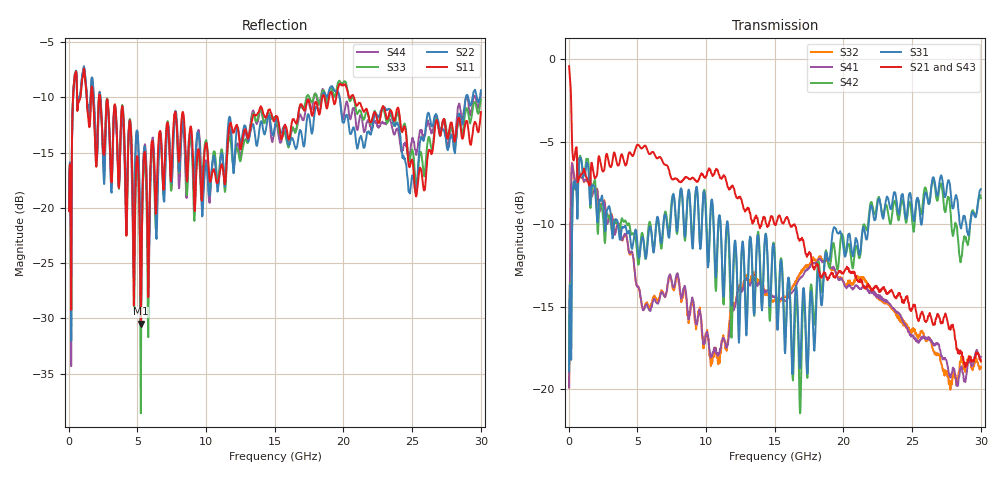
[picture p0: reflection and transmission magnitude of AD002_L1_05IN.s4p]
! MS46524B
! 1918203/M1: 91020113/M2: 91020112
! 9/9/2020 2:29:01 PM
! C:\USERS\ANRITSUUSER\DESKTOP\2118-5-2.S4P
! CHANNEL.1
! TR.MEASUREMENT
! CORRECTED.DATA
# GHZ S RI R 50.0
! FREQ.GHZ  S11RE  S11IM  S12RE  S12IM  S13RE  S13IM  S14RE  S14IM
!  S21RE  S21IM  S22RE  S22IM  S23RE  S23IM  S24RE  S24IM
!  S31RE  S31IM  S32RE  S32IM  S33RE  S33IM  S34RE  S34IM
!  S41RE  S41IM  S42RE  S42IM  S43RE  S43IM  S44RE  S44IM
!; PortSelection: Port_1234
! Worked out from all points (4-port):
!   1000 points, 30 MHz to 30 GHz, reference 50 ohm
!   strongest paths, dB at 30 MHz, 7.53 GHz, 15.03 GHz, 22.53 GHz, 30 GHz:
!     S21: -0.4, -7.3, -10.0, -13.9, -18.3
!     S43: -0.4, -7.3, -10.0, -14.1, -18.4
!     S31: -18.9, -8.5, -12.8, -8.5, -7.9
!     S42: -18.8, -8.4, -12.4, -8.4, -8.4
!     S41: -19.9, -13.6, -14.4, -14.5, -18.0
!     S32: -19.9, -13.6, -14.6, -14.4, -18.7
!   lowest |S11| = -30.5 dB at 5.25 GHz (marker M1), VSWR 1.06, Z = 48.9 + j2.75 ohm
!   |S11| at or under -10 dB: 1.776 GHz to 2.206 GHz (430.2 MHz wide, 21.6 % of centre); 2.282 GHz to 18.45 GHz (16.17 GHz wide, 156 % of centre); 20.77 GHz to end of sweep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
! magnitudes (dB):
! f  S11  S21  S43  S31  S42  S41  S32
! 30 MHz  -20.3  -0.4  -0.4  -18.9  -18.8  -19.9  -19.9
! 1.11 GHz  -7.4  -6.6  -6.6  -6.9  -6.9  -7.4  -7.5
! 4.47 GHz  -12.2  -5.7  -5.6  -10.8  -10.3  -11.7  -11.8
! 5.25 GHz  -30.5  -5.4  -5.4  -11.3  -11.0  -14.5  -14.5
! 7.74 GHz  -11.4  -7.2  -7.2  -9.0  -9.1  -13.6  -13.8
! 16.83 GHz  -10.7  -11.0  -11.0  -18.8  -21.5  -13.3  -13.0
! 30 GHz  -11.3  -18.3  -18.4  -7.9  -8.4  -18.0  -18.7
